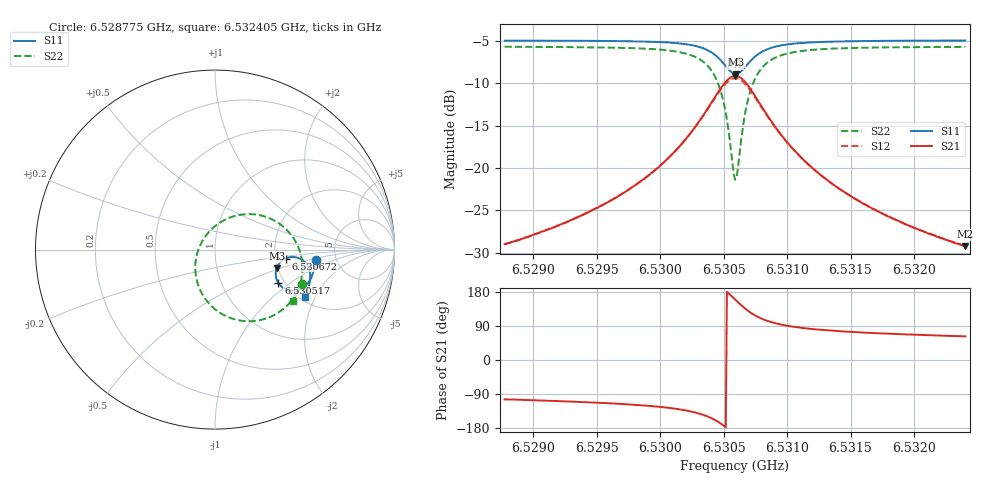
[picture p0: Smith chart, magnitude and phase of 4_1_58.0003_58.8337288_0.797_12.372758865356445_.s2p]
#  HZ  S  RI  R  50.00
! Rohde & Schwarz Vector Network Analyzer
! Rohde-Schwarz,ZNB20-2Port,1311601062101988,3.16
! Created: UTC 3/21/2024, 12:50:24 AM
! freq[Hz]  re:S11  im:S11  re:S21  im:S21  re:S12  im:S12  re:S22  im:S22
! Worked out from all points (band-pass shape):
!   401 points, 6.528775 GHz to 6.532405 GHz, reference 50 ohm
!   highest |S21| = -9.13 dB at 6.53059 GHz (marker M1); lowest = -29.2 dB at 6.532405 GHz (marker M2)
!   |S21| within 3 dB of the highest: 6.530411 GHz to 6.530774 GHz (363 kHz wide, 0.00556 % of centre)
!   lowest |S11| = -8.9 dB at 6.530599 GHz (marker M3), VSWR 2.12, Z = 98.6 - j23.5 ohm
!   |S11| at or under -10 dB: nowhere
!   |S22| runs from -21.4 to -5.7 dB; largest |S21 - S12| = 0.015
!   S11 on the Smith chart (normalised r, x): 6.528775 GHz: 3.48, -0.58; 6.530517 GHz: 1.86, -0.82; 6.530672 GHz: 2.27, -0.27; 6.532405 GHz: 2.11, -1.65
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6.5287752e9  0.5612 -0.0567  -0.00851 -0.0344  -0.00925 -0.0342  0.4832 -0.1903
6.5293832e9  0.5521 -0.1097  -0.0187 -0.0491  -0.02 -0.0487  0.4504 -0.2522
6.5297189e9  0.5416 -0.1435  -0.032 -0.0643  -0.0337 -0.0635  0.4161 -0.2969
6.5299911e9  0.5247 -0.1765  -0.056 -0.0847  -0.0585 -0.0833  0.3621 -0.3444
6.5302089e9  0.4945 -0.2088  -0.1033 -0.109  -0.1068 -0.1051  0.2667 -0.3891
6.5303631e9  0.4447 -0.2287  -0.1835 -0.1166  -0.1862 -0.1083  0.1198 -0.3912
6.5304539e9  0.3927 -0.2203  -0.2652 -0.0838  -0.2635 -0.0717  -0.0151 -0.3187
6.5304902e9  0.369 -0.2044  -0.3006 -0.0495  -0.2955 -0.0369  -0.0679 -0.2534
6.5305174e9  0.3532 -0.1858  -0.3228 -0.0125  -0.3146 -0.000744  -0.0973 -0.1873
6.5305718e9  0.3384 -0.1329  -0.3367 0.0845  -0.3237 0.0912  -0.1002 -0.0247
6.53059e9  0.3407 -0.1132  -0.3286 0.1189  -0.3148 0.1232  -0.0799 0.0299
6.5305991e9  0.3436 -0.1037  -0.3219 0.1354  -0.3082 0.1384  -0.0659 0.0556
6.5306172e9  0.3521 -0.0859  -0.3041 0.1657  -0.2908 0.1664  -0.0309 0.1018
6.5306717e9  0.3929 -0.0497  -0.2276 0.2257  -0.2183 0.2216  0.1056 0.1862
6.530708e9  0.4232 -0.0417  -0.1737 0.2384  -0.1676 0.2337  0.1973 0.1978
6.5307442e9  0.4499 -0.043  -0.1276 0.236  -0.1236 0.2318  0.2747 0.1852
6.5308622e9  0.5027 -0.0724  -0.0385 0.1914  -0.0371 0.1895  0.4188 0.089
6.5309892e9  0.5236 -0.1064  -0.00289 0.1454  -0.00157 0.1445  0.4708 -0.00403
6.5311979e9  0.5312 -0.1468  0.0143 0.0992  0.0155 0.0987  0.4874 -0.1001
6.5314702e9  0.5282 -0.1833  0.0184 0.0681  0.0195 0.0678  0.48 -0.1708
6.5318059e9  0.5193 -0.2173  0.0183 0.0481  0.019 0.0479  0.4638 -0.2244
6.5324048e9  0.4991 -0.2662  0.016 0.0306  0.0166 0.0303  0.4329 -0.2855
